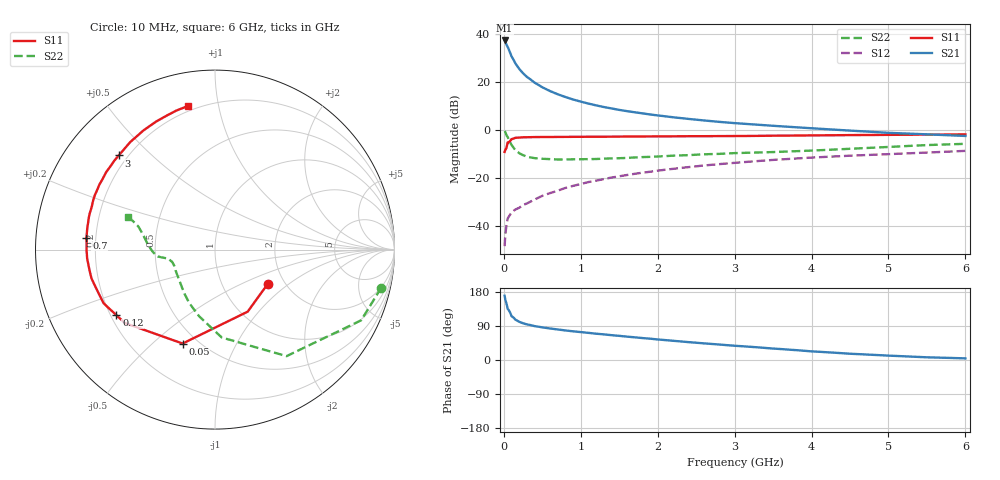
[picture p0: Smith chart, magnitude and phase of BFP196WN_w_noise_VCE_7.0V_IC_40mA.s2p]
! (c) 2017  Infineon Technologies AG, Munich
! Infineon Technologies  Discrete & RF Semiconductors
! BFP196WN
! VCE =  7.0 V,  IC =  40 mA
! Common Emitter S-Parameters:  Jan 2017
# GHz  S  MA  R  50
!  f  S11  S21  S12  S22
! GHz  MAG  ANG  MAG  ANG  MAG  ANG  MAG  ANG
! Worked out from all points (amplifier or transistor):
!   77 points, 10 MHz to 6 GHz, reference 50 ohm
!   highest |S21| = 37.3 dB at 10 MHz (marker M1)
!   |S21| within 3 dB of that: start of sweep to 53.94 MHz
!   unconditionally stable (mu >= 1): 683.9 MHz to 2.666 GHz
!   at 130 MHz: K = 0.47, MSG = 31.3 dB, |S12| = -33.6 dB
!   at 2.2 GHz: K = 1.02, MAG = 9.8 dB, |S12| = -16.2 dB
!   at 6 GHz: K = 0.90, MSG = 3.1 dB, |S12| = -8.7 dB
!   lowest NFmin = 1.16 dB at 450 MHz
!   S11 on the Smith chart (normalised r, x): 10 MHz: 1.64, -0.71; 50 MHz: 0.42, -0.63; 120 MHz: 0.22, -0.29; 700 MHz: 0.16, +0.05; 3 GHz: 0.17, +0.40; 6 GHz: 0.17, +0.81
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0.01  0.3506 -32.9  73.67 169.5  0.0038 80.6  0.95 -13.0
0.02  0.3907 -62.2  68.71 158.5  0.0069 74.3  0.9046 -25.8
0.05  0.5535 -109.0  53.87 135.2  0.0143 54.5  0.7152 -56.1
0.1  0.6478 -140.8  34.31 115.8  0.0191 47.1  0.4912 -85.6
0.12  0.6598 -146.4  30.31 112.8  0.0203 46.8  0.4426 -91.7
0.15  0.689 -154.3  24.54 106.5  0.0221 46.4  0.3818 -103.4
0.2  0.6962 -161.9  18.82 100.8  0.024 47.9  0.3298 -115.9
0.25  0.7067 -166.9  15.26 96.9  0.0274 51.3  0.2996 -124.4
0.3  0.7086 -170.8  12.8 94.0  0.0295 52.2  0.2784 -131.6
0.4  0.714 -176.0  9.709 89.4  0.0355 58.3  0.2598 -141.0
0.5  0.7156 -179.8  7.785 86.1  0.0425 60.8  0.2519 -147.7
0.6  0.7161 177.1  6.505 83.2  0.0485 62.4  0.2477 -152.6
0.7  0.7191 174.7  5.572 80.6  0.0544 64.6  0.2434 -155.9
0.9  0.722 169.8  4.335 75.7  0.0686 65.8  0.2454 -160.2
1.1  0.725 166.0  3.559 71.6  0.0824 66.6  0.2476 -163.5
1.5  0.7304 159.0  2.632 63.7  0.1086 65.8  0.259 -167.7
2.1  0.7391 149.1  1.932 52.5  0.1489 63.0  0.2865 -170.8
3  0.7502 135.6  1.395 37.6  0.2071 56.7  0.3306 -174.7
3.1  0.7518 134.1  1.36 36.3  0.2133 55.8  0.3339 -175.4
4.1  0.7758 119.7  1.066 21.7  0.2716 47.7  0.3796 174.5
5.1  0.7955 108.9  0.862 10.7  0.3194 40.3  0.4525 162.8
6  0.8136 100.8  0.753 4.3  0.3682 34.3  0.5163 159.6
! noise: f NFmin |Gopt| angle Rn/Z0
0.45  1.16  0.5  -179  0.04
0.9  1.29  0.54  -173  0.05
1.9  2.21  0.68  -148  0.13
2.4  2.95  0.69  -141  0.26
